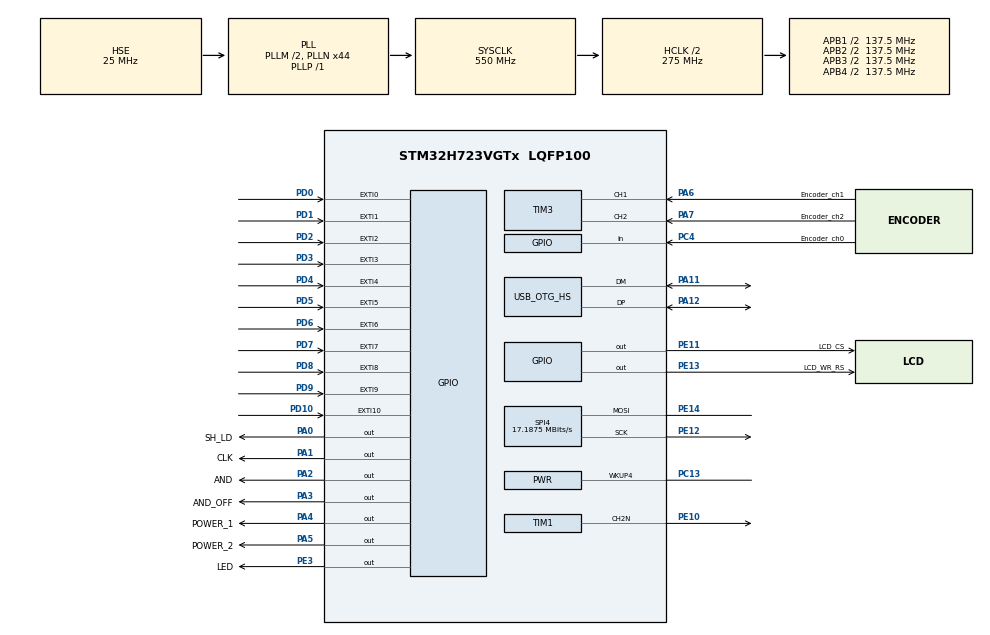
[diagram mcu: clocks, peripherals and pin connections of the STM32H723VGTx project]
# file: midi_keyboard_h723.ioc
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CORTEX_M7.CPU_DCache=Enabled
CORTEX_M7.CPU_ICache=Enabled
Mcu.Family=STM32H7
Mcu.Name=STM32H723VGTx
Mcu.Package=LQFP100
NVIC.EXTI0_IRQn=true\:0\:0\:false\:false\:true\:true\:true\:true
NVIC.EXTI15_10_IRQn=true\:0\:0\:false\:false\:true\:true\:true\:true
NVIC.EXTI1_IRQn=true\:0\:0\:false\:false\:true\:true\:true\:true
NVIC.EXTI2_IRQn=true\:0\:0\:false\:false\:true\:true\:true\:true
NVIC.EXTI3_IRQn=true\:0\:0\:false\:false\:true\:true\:true\:true
NVIC.EXTI4_IRQn=true\:0\:0\:false\:false\:true\:true\:true\:true
NVIC.EXTI9_5_IRQn=true\:0\:0\:false\:false\:true\:true\:true\:true
NVIC.OTG_HS_IRQn=true\:0\:0\:false\:false\:true\:false\:true\:true
NVIC.PriorityGroup=NVIC_PRIORITYGROUP_4
PA0.GPIO_Label=SH_LD
PA0.GPIO_PuPd=GPIO_PULLDOWN
PA0.GPIO_Speed=GPIO_SPEED_FREQ_HIGH
PA0.Signal=GPIO_Output
PA1.GPIO_Label=CLK
PA1.GPIO_PuPd=GPIO_PULLDOWN
PA1.GPIO_Speed=GPIO_SPEED_FREQ_HIGH
PA1.Signal=GPIO_Output
PA11.Mode=Device_Only_FS
PA11.Signal=USB_OTG_HS_DM
PA12.Mode=Device_Only_FS
PA12.Signal=USB_OTG_HS_DP
PA13(JTMS/SWDIO).Mode=Serial_Wire
PA13(JTMS/SWDIO).Signal=DEBUG_JTMS-SWDIO
PA14(JTCK/SWCLK).Mode=Serial_Wire
PA14(JTCK/SWCLK).Signal=DEBUG_JTCK-SWCLK
PA2.GPIO_Label=AND
PA2.GPIO_PuPd=GPIO_PULLDOWN
PA2.GPIO_Speed=GPIO_SPEED_FREQ_HIGH
PA2.Signal=GPIO_Output
PA3.GPIO_Label=AND_OFF
PA3.GPIO_PuPd=GPIO_PULLDOWN
PA3.GPIO_Speed=GPIO_SPEED_FREQ_HIGH
PA3.Signal=GPIO_Output
PA4.GPIO_Label=POWER_1
PA4.GPIO_ModeDefaultOutputPP=GPIO_MODE_OUTPUT_OD
PA4.GPIO_PuPd=GPIO_NOPULL
PA4.PinState=GPIO_PIN_SET
PA4.Signal=GPIO_Output
PA5.GPIO_Label=POWER_2
PA5.GPIO_ModeDefaultOutputPP=GPIO_MODE_OUTPUT_OD
PA5.GPIO_PuPd=GPIO_NOPULL
PA5.PinState=GPIO_PIN_SET
PA5.Signal=GPIO_Output
PA6.GPIO_Label=Encoder_ch1
PA6.GPIO_PuPd=GPIO_PULLUP
PA6.Signal=S_TIM3_CH1
PA7.GPIO_Label=Encoder_ch2
PA7.GPIO_PuPd=GPIO_PULLUP
PA7.Signal=S_TIM3_CH2
PC13.Mode=WakeUp4
PC13.Signal=PWR_WKUP4
PC4.GPIO_Label=Encoder_ch0
PC4.Signal=GPIO_Input
PD0.GPIO_PuPd=GPIO_PULLDOWN
PD0.Signal=GPXTI0
PD1.GPIO_PuPd=GPIO_PULLDOWN
PD1.Signal=GPXTI1
PD10.GPIO_PuPd=GPIO_PULLDOWN
PD10.Signal=GPXTI10
PD2.GPIO_PuPd=GPIO_PULLDOWN
PD2.Signal=GPXTI2
PD3.GPIO_PuPd=GPIO_PULLDOWN
PD3.Signal=GPXTI3
PD4.GPIO_PuPd=GPIO_PULLDOWN
PD4.Signal=GPXTI4
PD5.GPIO_PuPd=GPIO_PULLDOWN
PD5.Signal=GPXTI5
PD6.GPIO_PuPd=GPIO_PULLDOWN
PD6.Signal=GPXTI6
PD7.GPIO_PuPd=GPIO_PULLDOWN
PD7.Signal=GPXTI7
PD8.GPIO_PuPd=GPIO_PULLDOWN
PD8.Signal=GPXTI8
PD9.GPIO_PuPd=GPIO_PULLDOWN
PD9.Signal=GPXTI9
PE10.Mode=PWM Generation2 CH2N
PE10.Signal=TIM1_CH2N
PE11.GPIO_Label=LCD_CS
PE11.Signal=GPIO_Output
PE12.Mode=Simplex_Bidirectional_Master
PE12.Signal=SPI4_SCK
PE13.GPIO_Label=LCD_WR_RS
PE13.Signal=GPIO_Output
PE14.Mode=Simplex_Bidirectional_Master
PE14.Signal=SPI4_MOSI
PE3.GPIO_Label=LED
PE3.GPIO_PuPd=GPIO_PULLDOWN
PE3.GPIO_Speed=GPIO_SPEED_FREQ_HIGH
PE3.PinState=GPIO_PIN_RESET
PE3.Signal=GPIO_Output
PH0-OSC_IN.Mode=HSE-External-Oscillator
PH0-OSC_IN.Signal=RCC_OSC_IN
PH1-OSC_OUT.Mode=HSE-External-Oscillator
PH1-OSC_OUT.Signal=RCC_OSC_OUT
ProjectManager.HeapSize=0x200
ProjectManager.StackSize=0x400
ProjectManager.TargetToolchain=STM32CubeIDE
RCC.ADCFreq_Value=50390625
RCC.APB1Freq_Value=137500000
RCC.APB2Freq_Value=137500000
RCC.APB3Freq_Value=137500000
RCC.APB4Freq_Value=137500000
RCC.CortexFreq_Value=550000000
RCC.D1PPRE=RCC_APB3_DIV2
RCC.D2PPRE1=RCC_APB1_DIV2
RCC.D2PPRE2=RCC_APB2_DIV2
RCC.D3PPRE=RCC_APB4_DIV2
RCC.DIVM1=2
RCC.DIVN1=44
RCC.DIVP1=1
RCC.DIVQ1=5
RCC.HCLKFreq_Value=275000000
RCC.HPRE=RCC_HCLK_DIV2
RCC.PLL2FRACN=0
RCC.PLL3FRACN=0
RCC.PLLFRACN=0
RCC.PLLSourceVirtual=RCC_PLLSOURCE_HSE
RCC.PWR_Regulator_Voltage_Scale=PWR_REGULATOR_VOLTAGE_SCALE0
RCC.SYSCLKFreq_VALUE=550000000
RCC.SYSCLKSource=RCC_SYSCLKSOURCE_PLLCLK
RCC.USBCLockSelection=RCC_USBCLKSOURCE_HSI48
RCC.USBFreq_Value=48000000
SH.S_TIM3_CH1.0=TIM3_CH1,Encoder_Interface
SH.S_TIM3_CH2.0=TIM3_CH2,Encoder_Interface
SPI4.BaudRatePrescaler=SPI_BAUDRATEPRESCALER_8
SPI4.CalculateBaudRate=17.1875 MBits/s
SPI4.DataSize=SPI_DATASIZE_8BIT
SPI4.Direction=SPI_DIRECTION_1LINE
SPI4.Mode=SPI_MODE_MASTER
SPI4.VirtualType=VM_MASTER
TIM1.Channel-PWM\ Generation2\ CH2N=TIM_CHANNEL_2
TIM1.Period=1000-1
TIM1.Prescaler=27-1
TIM2.Prescaler=275-1
TIM3.CounterMode=TIM_COUNTERMODE_UP
TIM3.EncoderMode=TIM_ENCODERMODE_TI2
TIM3.IC1Polarity=TIM_ICPOLARITY_RISING
TIM3.IC2Polarity=TIM_ICPOLARITY_RISING
USB_DEVICE.CLASS_NAME_HS=CDC
USB_DEVICE.CONFIGURATION_STRING_CDC_HS=MIDI Config
USB_DEVICE.INTERFACE_STRING_CDC_HS=MIDI Interface
USB_DEVICE.MANUFACTURER_STRING=SCHE
USB_DEVICE.PID_CDC_HS=22436
USB_DEVICE.PRODUCT_STRING_CDC_HS=MIDI Piano
USB_DEVICE.VID=1255
USB_DEVICE.VirtualMode=Cdc
USB_DEVICE.VirtualModeHS=Cdc_HS
USB_OTG_HS.VirtualMode-Device_Only_FS=Device_Only_FS
VP_TIM2_VS_ClockSourceINT.Mode=Internal
VP_USB_DEVICE_VS_USB_DEVICE_CDC_HS.Mode=CDC_HS
board=custom

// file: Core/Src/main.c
/* USER CODE BEGIN Header */
/**
  ******************************************************************************
  * @file           : main.c
  * @brief          : Main program body
  ******************************************************************************
  * @attention
  *
  * Copyright (c) 2024 STMicroelectronics.
  * All rights reserved.
  *
  * This software is licensed under terms that can be found in the LICENSE file
  * in the root directory of this software component.
  * If no LICENSE file comes with this software, it is provided AS-IS.
  *
  ******************************************************************************
  */
/* USER CODE END Header */
#include "main.h"
#include "spi.h"
#include "tim.h"
#include "usb_device.h"
#include "gpio.h"

/* USER CODE BEGIN Includes */
#include "lcd.h"
/* USER CODE END Includes */

void SystemClock_Config(void);

int main(void)
{

  /* Enable I-Cache---------------------------------------------------------*/
  SCB_EnableICache();

  /* Enable D-Cache---------------------------------------------------------*/
  SCB_EnableDCache();

  /* MCU Configuration--------------------------------------------------------*/

  /* Reset of all peripherals, Initializes the Flash interface and the Systick. */
  HAL_Init();

  /* Configure the system clock */
  SystemClock_Config();

  /* Initialize all configured peripherals */
  MX_GPIO_Init();
  MX_SPI4_Init();
  MX_TIM1_Init();
  MX_TIM3_Init();
  MX_USB_DEVICE_Init();
  MX_TIM2_Init();
  /* USER CODE BEGIN 2 */

  HAL_TIM_Encoder_Start(&htim3, TIM_CHANNEL_ALL);

	LCD_Test();

	char texxt[20];
	int a = 125;
	int32_t prevCounter = 0;
    int currCounter = __HAL_TIM_GET_COUNTER(&htim3);
	ST7735_LCD_Driver.FillRect(&st7735_pObj, 0, 0, ST7735Ctx.Width,ST7735Ctx.Height, BLACK);
	sprintf(texxt, "%d", a);
	LCD_ShowString(1, 11, 150, 40, 16, texxt);
	HAL_Delay(100);

  /* USER CODE END 2 */

  /* Infinite loop */
  while (1)
  {

    /* USER CODE BEGIN 3 */

	    int currCounter = __HAL_TIM_GET_COUNTER(&htim3);
	    currCounter = 32767 - ((currCounter-1) & 0xFFFF) / 2;
	    if(currCounter != prevCounter) {
	        char buff[16];
	        snprintf(buff, sizeof(buff), "%06d", currCounter);

	    	ST7735_LCD_Driver.FillRect(&st7735_pObj, 0, 0, ST7735Ctx.Width,ST7735Ctx.Height, BLACK);
	    	sprintf(texxt, "%d", currCounter);
			//printf(buff, "1. целое число: %d \n", 1234);
			//printf(buff, "2. дробное число: %f \n", 12.34);
			//printf(buff, "3. 16-ричное: %X \n", 12.34);
	    	LCD_ShowString(currCounter, 11, 150, 40, 16, texxt);
	    	HAL_Delay(100);

	        prevCounter = currCounter;
	    }

  }
  /* USER CODE END 3 */
}

void SystemClock_Config(void)
{
  RCC_OscInitTypeDef RCC_OscInitStruct = {0};
  RCC_ClkInitTypeDef RCC_ClkInitStruct = {0};

  /** Supply configuration update enable
  */
  HAL_PWREx_ConfigSupply(PWR_LDO_SUPPLY);

  /** Configure the main internal regulator output voltage
  */
  __HAL_PWR_VOLTAGESCALING_CONFIG(PWR_REGULATOR_VOLTAGE_SCALE0);

  while(!__HAL_PWR_GET_FLAG(PWR_FLAG_VOSRDY)) {}

  /** Initializes the RCC Oscillators according to the specified parameters
  * in the RCC_OscInitTypeDef structure.
  */
  RCC_OscInitStruct.OscillatorType = RCC_OSCILLATORTYPE_HSI48|RCC_OSCILLATORTYPE_HSE;
  RCC_OscInitStruct.HSEState = RCC_HSE_ON;
  RCC_OscInitStruct.HSI48State = RCC_HSI48_ON;
  RCC_OscInitStruct.PLL.PLLState = RCC_PLL_ON;
  RCC_OscInitStruct.PLL.PLLSource = RCC_PLLSOURCE_HSE;
  RCC_OscInitStruct.PLL.PLLM = 2;
  RCC_OscInitStruct.PLL.PLLN = 44;
  RCC_OscInitStruct.PLL.PLLP = 1;
  RCC_OscInitStruct.PLL.PLLQ = 5;
  RCC_OscInitStruct.PLL.PLLR = 2;
  RCC_OscInitStruct.PLL.PLLRGE = RCC_PLL1VCIRANGE_3;
  RCC_OscInitStruct.PLL.PLLVCOSEL = RCC_PLL1VCOWIDE;
  RCC_OscInitStruct.PLL.PLLFRACN = 0;
  if (HAL_RCC_OscConfig(&RCC_OscInitStruct) != HAL_OK)
  {
    Error_Handler();
  }

  /** Initializes the CPU, AHB and APB buses clocks
  */
  RCC_ClkInitStruct.ClockType = RCC_CLOCKTYPE_HCLK|RCC_CLOCKTYPE_SYSCLK
                              |RCC_CLOCKTYPE_PCLK1|RCC_CLOCKTYPE_PCLK2
                              |RCC_CLOCKTYPE_D3PCLK1|RCC_CLOCKTYPE_D1PCLK1;
  RCC_ClkInitStruct.SYSCLKSource = RCC_SYSCLKSOURCE_PLLCLK;
  RCC_ClkInitStruct.SYSCLKDivider = RCC_SYSCLK_DIV1;
  RCC_ClkInitStruct.AHBCLKDivider = RCC_HCLK_DIV2;
  RCC_ClkInitStruct.APB3CLKDivider = RCC_APB3_DIV2;
  RCC_ClkInitStruct.APB1CLKDivider = RCC_APB1_DIV2;
  RCC_ClkInitStruct.APB2CLKDivider = RCC_APB2_DIV2;
  RCC_ClkInitStruct.APB4CLKDivider = RCC_APB4_DIV2;

  if (HAL_RCC_ClockConfig(&RCC_ClkInitStruct, FLASH_LATENCY_3) != HAL_OK)
  {
    Error_Handler();
  }
}

void Error_Handler(void)
{
  __disable_irq();
  while (1)
  {
  }
}
